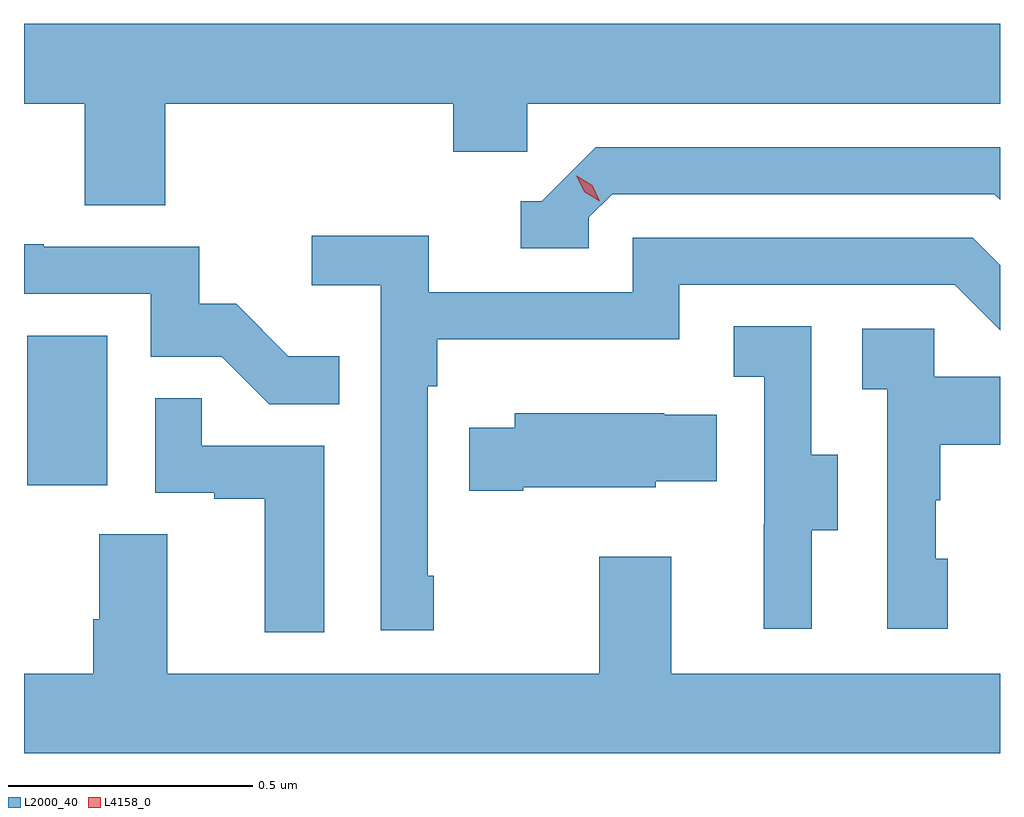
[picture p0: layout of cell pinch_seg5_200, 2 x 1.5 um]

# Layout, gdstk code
import gdstk
lib = gdstk.Library(unit=1e-6, precision=1e-09)
def R(c, l, rs):  # rectangles x0, y0, x1, y1
    for r in rs: c.add(gdstk.rectangle(r[:2], r[2:], *l))
def P(c, l, *ps):  # polygons
    for p in ps: c.add(gdstk.Polygon(p, *l))
L2000_40 = (2000, 40)
L4158_0 = (4158, 0)

pinch_seg5_200 = lib.new_cell('pinch_seg5_200')
R(pinch_seg5_200, L2000_40, [(1001.594,902.598,1001.758,902.905)])
P(pinch_seg5_200, L2000_40, [(1001.876,903.38),(1002.467,903.38),(1002.467,903.282),(1002.618,903.282),(1002.618,903.38),(1003.587,903.38),(1003.587,903.544),(1001.587,903.544),(1001.587,903.38),(1001.711,903.38),(1001.711,903.172),(1001.876,903.172)],
  [(1002.744,903.147),(1002.792,903.195),(1003.575,903.195),(1003.587,903.183),(1003.587,903.291),(1002.759,903.291),(1002.648,903.18),(1002.605,903.18),(1002.605,903.084),(1002.744,903.084)],
  [(1002.427,902.413),(1002.414,902.413),(1002.414,902.801),(1002.434,902.801),(1002.434,902.897),(1002.93,902.897),(1002.93,903.009),(1003.494,903.009),(1003.587,902.916),(1003.587,903.049),(1003.531,903.105),(1002.834,903.105),(1002.834,902.994),(1002.416,902.994),(1002.416,903.11),(1002.177,903.11),(1002.177,903.008),(1002.318,903.008),(1002.318,902.301),(1002.427,902.301)],
  [(1002.233,902.863),(1002.129,902.863),(1002.022,902.97),(1001.946,902.97),(1001.946,903.087),(1001.627,903.087),(1001.627,903.092),(1001.587,903.092),(1001.587,902.991),(1001.847,902.991),(1001.847,902.862),(1001.992,902.862),(1002.09,902.764),(1002.233,902.764)],
  [(1003.201,902.506),(1003.255,902.506),(1003.255,902.661),(1003.2,902.661),(1003.2,902.924),(1003.041,902.924),(1003.041,902.821),(1003.104,902.821),(1003.104,902.517),(1003.103,902.517),(1003.103,902.304),(1003.201,902.304)],
  [(1003.48,902.448),(1003.455,902.448),(1003.455,902.567),(1003.465,902.567),(1003.465,902.681),(1003.587,902.681),(1003.587,902.821),(1003.452,902.821),(1003.452,902.919),(1003.305,902.919),(1003.305,902.795),(1003.356,902.795),(1003.356,902.304),(1003.48,902.304)],
  [(1002.202,902.679),(1001.951,902.679),(1001.951,902.777),(1001.856,902.777),(1001.856,902.583),(1001.977,902.583),(1001.977,902.571),(1002.08,902.571),(1002.08,902.297),(1002.202,902.297)],
  [(1002.61,902.594),(1002.882,902.594),(1002.882,902.606),(1003.007,902.606),(1003.007,902.743),(1002.899,902.743),(1002.899,902.746),(1002.593,902.746),(1002.593,902.716),(1002.499,902.716),(1002.499,902.587),(1002.61,902.587)],
  [(1003.587,902.212),(1002.913,902.212),(1002.913,902.452),(1002.766,902.452),(1002.766,902.212),(1001.881,902.212),(1001.881,902.498),(1001.741,902.498),(1001.741,902.324),(1001.729,902.324),(1001.729,902.212),(1001.587,902.212),(1001.587,902.049),(1003.587,902.049)])
P(pinch_seg5_200, L4158_0, [(1002.767,903.18),(1002.736,903.199),(1002.719,903.232),(1002.719,903.232),(1002.72,903.232),(1002.751,903.213),(1002.767,903.18),(1002.767,903.18)])

lib.write_gds('pinch_seg5_200.gds')
